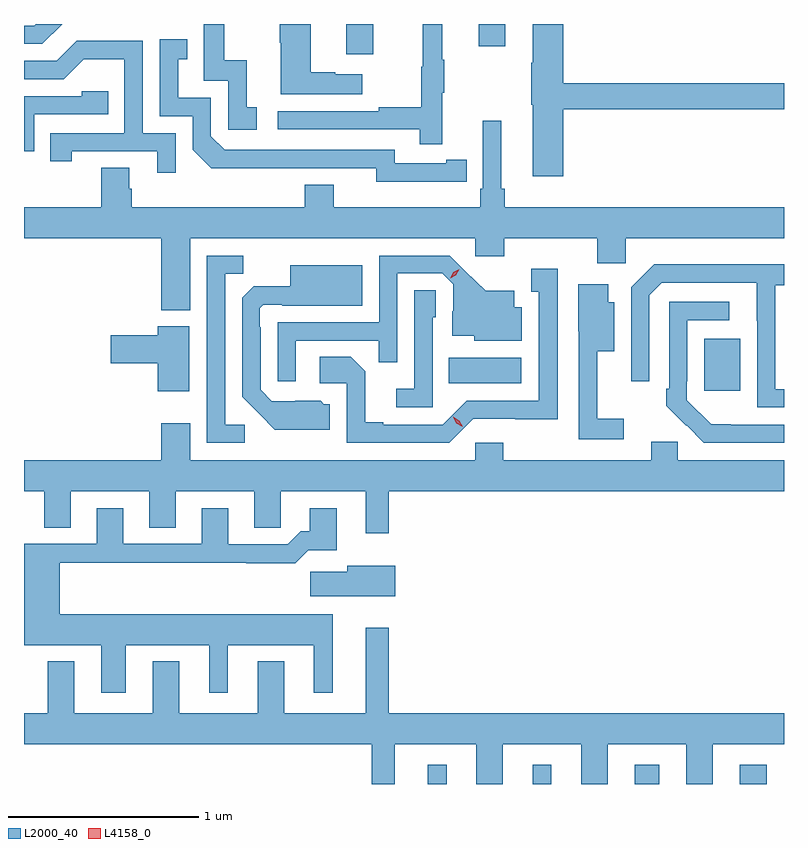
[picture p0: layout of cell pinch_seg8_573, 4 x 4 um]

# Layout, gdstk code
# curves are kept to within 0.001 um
import gdstk
lib = gdstk.Library(unit=1e-6, precision=1e-09)
def R(c, l, rs):  # rectangles x0, y0, x1, y1
    for r in rs: c.add(gdstk.rectangle(r[:2], r[2:], *l))
def P(c, l, *ps):  # polygons
    for p in ps: c.add(gdstk.Polygon(p, *l))
L2000_40 = (2000, 40)
L4158_0 = (4158, 0)

pinch_seg8_573 = lib.new_cell('pinch_seg8_573')
R(pinch_seg8_573, L2000_40, [(161.456,1089.652,161.554,1089.754), (162.008,1089.652,162.106,1089.754), (162.545,1089.652,162.673,1089.754), (163.097,1089.652,163.238,1089.754), (162.911,1091.721,163.099,1091.995), (161.566,1091.762,161.947,1091.896), (161.027,1093.494,161.167,1093.652), (161.723,1093.536,161.863,1093.652)])
P(pinch_seg8_573, L2000_40, [(161.531,1093.291),(161.542,1093.291),(161.542,1093.465),(161.531,1093.465),(161.531,1093.652),(161.428,1093.652),(161.428,1093.428),(161.421,1093.428),(161.421,1093.214),(161.197,1093.214),(161.197,1093.194),(160.665,1093.194),(160.665,1093.098),(161.413,1093.098),(161.413,1093.02),(161.531,1093.02)],
  [(159.53,1093.652),(159.392,1093.652),(159.384,1093.644),(159.33,1093.644),(159.33,1093.548),(159.426,1093.548)],
  [(160.555,1093.215),(160.502,1093.215),(160.502,1093.462),(160.384,1093.462),(160.384,1093.652),(160.275,1093.652),(160.275,1093.353),(160.404,1093.353),(160.404,1093.095),(160.555,1093.095)],
  [(161.11,1093.387),(160.967,1093.387),(160.967,1093.397),(160.84,1093.397),(160.84,1093.652),(160.675,1093.652),(160.675,1093.553),(160.682,1093.553),(160.682,1093.283),(161.11,1093.283)],
  [(162.167,1093.204),(163.33,1093.204),(163.33,1093.34),(162.167,1093.34),(162.167,1093.652),(162.008,1093.652),(162.008,1093.448),(162.001,1093.448),(162.001,1093.227),(162.008,1093.227),(162.008,1092.852),(162.167,1092.852)],
  [(161.552,1092.822),(161.66,1092.822),(161.66,1092.938),(161.552,1092.938),(161.552,1092.918),(161.28,1092.918),(161.28,1092.99),(160.386,1092.99),(160.314,1093.062),(160.314,1093.263),(160.141,1093.263),(160.141,1093.467),(160.19,1093.467),(160.19,1093.573),(160.044,1093.573),(160.044,1093.167),(160.218,1093.167),(160.218,1092.99),(160.316,1092.893),(161.184,1092.894),(161.184,1092.821)],
  [(160.128,1093.077),(159.954,1093.077),(159.954,1093.563),(159.608,1093.563),(159.503,1093.458),(159.33,1093.458),(159.33,1093.362),(159.54,1093.362),(159.644,1093.466),(159.858,1093.466),(159.858,1093.077),(159.469,1093.077),(159.469,1092.93),(159.58,1092.93),(159.58,1092.981),(160.031,1092.981),(160.031,1092.87),(160.128,1092.87)],
  [(159.384,1093.176),(159.773,1093.176),(159.773,1093.299),(159.633,1093.299),(159.633,1093.272),(159.33,1093.272),(159.33,1092.981),(159.384,1092.981)],
  [(160.204,1092.524),(161.706,1092.524),(161.706,1092.429),(161.858,1092.429),(161.858,1092.524),(162.347,1092.524),(162.347,1092.393),(162.498,1092.393),(162.498,1092.524),(163.33,1092.524),(163.33,1092.688),(161.861,1092.688),(161.861,1092.784),(161.842,1092.784),(161.842,1093.144),(161.745,1093.144),(161.745,1092.784),(161.732,1092.784),(161.732,1092.688),(160.96,1092.688),(160.96,1092.805),(160.808,1092.805),(160.808,1092.688),(159.896,1092.688),(159.896,1092.786),(159.883,1092.786),(159.883,1092.896),(159.736,1092.896),(159.736,1092.688),(159.33,1092.688),(159.33,1092.524),(160.052,1092.524),(160.052,1092.146),(160.204,1092.146)],
  [(160.761,1091.985),(161.197,1091.985),(161.197,1091.872),(161.295,1091.872),(161.295,1092.339),(161.532,1092.339),(161.589,1092.282),(161.589,1092.14),(161.585,1092.14),(161.585,1092.011),(161.7,1092.011),(161.7,1091.984),(161.95,1091.984),(161.95,1092.16),(161.911,1092.16),(161.911,1092.247),(161.759,1092.247),(161.572,1092.432),(161.199,1092.432),(161.199,1092.081),(160.665,1092.081),(160.665,1091.772),(160.761,1091.772)],
  [(160.492,1091.544),(160.389,1091.544),(160.389,1092.337),(160.485,1092.337),(160.485,1092.432),(160.293,1092.432),(160.293,1091.448),(160.492,1091.448)],
  [(163.33,1091.73),(163.284,1091.73),(163.284,1092.278),(163.33,1092.278),(163.33,1092.388),(162.646,1092.388),(162.525,1092.267),(162.525,1091.772),(162.621,1091.772),(162.621,1092.225),(162.687,1092.291),(163.187,1092.291),(163.188,1091.634),(163.33,1091.634)],
  [(160.939,1091.652),(160.908,1091.652),(160.892,1091.668),(160.635,1091.667),(160.575,1091.727),(160.575,1092.056),(160.572,1092.056),(160.572,1092.156),(160.59,1092.174),(160.69,1092.174),(160.69,1092.17),(161.11,1092.17),(161.11,1092.382),(160.73,1092.382),(160.73,1092.271),(160.538,1092.271),(160.479,1092.212),(160.479,1091.69),(160.651,1091.516),(160.939,1091.516)],
  [(161.694,1091.574),(162.139,1091.573),(162.139,1092.364),(161.999,1092.364),(161.999,1092.243),(162.038,1092.243),(162.038,1091.67),(161.661,1091.67),(161.535,1091.544),(161.221,1091.544),(161.221,1091.557),(161.127,1091.557),(161.127,1091.824),(161.051,1091.9),(160.887,1091.9),(160.887,1091.76),(161.028,1091.76),(161.028,1091.448),(161.568,1091.448)],
  [(162.487,1091.575),(162.347,1091.575),(162.347,1091.93),(162.436,1091.93),(162.436,1092.187),(162.406,1092.187),(162.406,1092.283),(162.248,1092.283),(162.248,1092.034),(162.249,1092.034),(162.249,1091.466),(162.487,1091.466)],
  [(161.481,1092.108),(161.496,1092.108),(161.496,1092.251),(161.385,1092.251),(161.385,1091.731),(161.289,1091.731),(161.289,1091.634),(161.481,1091.634)],
  [(163.33,1091.544),(162.948,1091.545),(162.819,1091.673),(162.819,1091.773),(162.822,1091.773),(162.822,1092.093),(163.042,1092.093),(163.042,1092.189),(162.726,1092.189),(162.726,1091.731),(162.711,1091.731),(162.711,1091.643),(162.908,1091.448),(163.33,1091.448)],
  [(160.201,1092.061),(160.034,1092.061),(160.034,1092.014),(159.786,1092.014),(159.786,1091.867),(160.034,1091.867),(160.034,1091.718),(160.201,1091.718)],
  [(161.251,1091.192),(163.33,1091.192),(163.33,1091.356),(162.771,1091.356),(162.771,1091.454),(162.632,1091.454),(162.632,1091.356),(161.853,1091.356),(161.853,1091.449),(161.706,1091.449),(161.706,1091.356),(160.204,1091.356),(160.204,1091.551),(160.052,1091.551),(160.052,1091.356),(159.33,1091.356),(159.33,1091.192),(159.437,1091.192),(159.437,1091.002),(159.577,1091.002),(159.577,1091.192),(159.989,1091.192),(159.989,1091.002),(160.129,1091.002),(160.129,1091.192),(160.541,1091.192),(160.541,1091.002),(160.68,1091.002),(160.68,1091.192),(161.129,1091.192),(161.129,1090.971),(161.251,1090.971)],
  [(159.865,1090.382),(160.304,1090.382),(160.304,1090.131),(160.402,1090.131),(160.402,1090.382),(160.856,1090.382),(160.856,1090.131),(160.954,1090.131),(160.954,1090.546),(159.517,1090.546),(159.517,1090.816),(160.501,1090.816),(160.501,1090.814),(160.757,1090.814),(160.826,1090.883),(160.975,1090.883),(160.975,1091.104),(160.835,1091.104),(160.835,1090.981),(160.786,1090.981),(160.719,1090.914),(160.405,1090.914),(160.405,1091.104),(160.265,1091.104),(160.265,1090.917),(159.853,1090.917),(159.853,1091.104),(159.713,1091.104),(159.713,1090.917),(159.33,1090.917),(159.33,1090.382),(159.737,1090.382),(159.737,1090.131),(159.865,1090.131)],
  [(161.284,1090.801),(161.03,1090.801),(161.03,1090.769),(160.836,1090.769),(160.836,1090.64),(161.284,1090.64)],
  [(161.281,1089.86),(161.711,1089.86),(161.711,1089.652),(161.851,1089.652),(161.851,1089.86),(162.263,1089.86),(162.263,1089.652),(162.403,1089.652),(162.403,1089.86),(162.815,1089.86),(162.815,1089.652),(162.955,1089.652),(162.955,1089.86),(163.33,1089.86),(163.33,1090.024),(161.251,1090.024),(161.251,1090.474),(161.129,1090.474),(161.129,1090.024),(160.699,1090.024),(160.699,1090.297),(160.559,1090.297),(160.559,1090.024),(160.147,1090.024),(160.147,1090.297),(160.007,1090.297),(160.007,1090.024),(159.595,1090.024),(159.595,1090.297),(159.455,1090.297),(159.455,1090.024),(159.33,1090.024),(159.33,1089.86),(161.16,1089.86),(161.16,1089.652),(161.281,1089.652)])
P(pinch_seg8_573, L4158_0, [(161.638,1091.532),(161.606,1091.552),(161.589,1091.584),(161.589,1091.584),(161.589,1091.584),(161.621,1091.565),(161.638,1091.533),(161.638,1091.532)],
  [(161.573,1092.314),(161.573,1092.314),(161.589,1092.345),(161.62,1092.361),(161.62,1092.361),(161.62,1092.36),(161.603,1092.33),(161.573,1092.314)])

lib.write_gds('pinch_seg8_573.gds')
